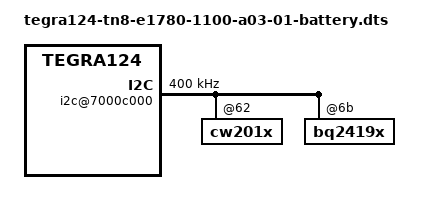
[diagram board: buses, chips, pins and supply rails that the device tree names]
#include "tegra124-tn8-e1780-1100-a03-01.dts"
#include "tegra124-platforms/tegra124-tn8-sysedp-e1780-1100-a02.dtsi"

/ {
	i2c@7000c000 {
		status = "okay";
		clock-frequency = <400000>;

		cw201x@62 {
			status = "okay";
		};

		bq2419x: bq2419x@6b {
			charger {
				status = "okay";
			};
		};
	};
};

